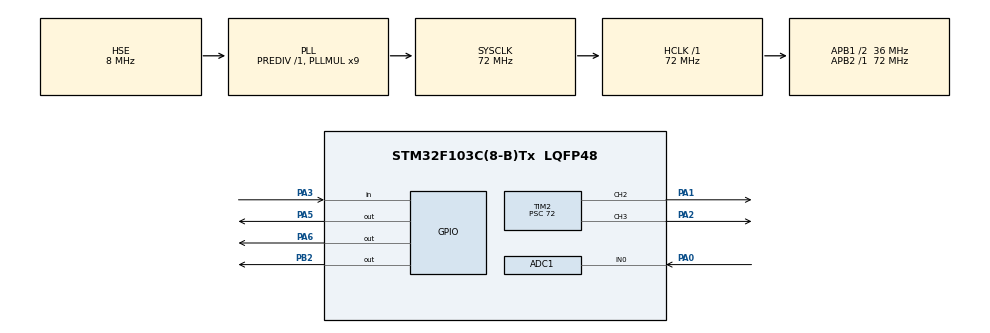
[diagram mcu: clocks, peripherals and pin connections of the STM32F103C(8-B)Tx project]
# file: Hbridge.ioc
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ADC1.Channel-0\#ChannelRegularConversion=ADC_CHANNEL_0
ADC1.NbrOfConversionFlag=1
ADC1.Rank-0\#ChannelRegularConversion=1
ADC1.SamplingTime-0\#ChannelRegularConversion=ADC_SAMPLETIME_1CYCLE_5
ADC1.master=1
Mcu.Family=STM32F1
Mcu.Name=STM32F103C(8-B)Tx
Mcu.Package=LQFP48
NVIC.PriorityGroup=NVIC_PRIORITYGROUP_4
PA0-WKUP.Signal=ADCx_IN0
PA1.Signal=S_TIM2_CH2
PA13.Mode=Serial_Wire
PA13.Signal=SYS_JTMS-SWDIO
PA14.Mode=Serial_Wire
PA14.Signal=SYS_JTCK-SWCLK
PA2.Signal=S_TIM2_CH3
PA3.Signal=GPIO_Input
PA5.PinState=GPIO_PIN_SET
PA5.Signal=GPIO_Output
PA6.PinState=GPIO_PIN_SET
PA6.Signal=GPIO_Output
PB2.Signal=GPIO_Output
PD0-OSC_IN.Mode=HSE-External-Oscillator
PD0-OSC_IN.Signal=RCC_OSC_IN
PD1-OSC_OUT.Mode=HSE-External-Oscillator
PD1-OSC_OUT.Signal=RCC_OSC_OUT
ProjectManager.HeapSize=0x200
ProjectManager.StackSize=0x400
ProjectManager.TargetToolchain=STM32CubeIDE
RCC.ADCPresc=RCC_ADCPCLK2_DIV6
RCC.AHBFreq_Value=72000000
RCC.APB1CLKDivider=RCC_HCLK_DIV2
RCC.APB1Freq_Value=36000000
RCC.APB1TimFreq_Value=72000000
RCC.APB2Freq_Value=72000000
RCC.APB2TimFreq_Value=72000000
RCC.HCLKFreq_Value=72000000
RCC.PLLMUL=RCC_PLL_MUL9
RCC.PLLSourceVirtual=RCC_PLLSOURCE_HSE
RCC.SYSCLKFreq_VALUE=72000000
RCC.SYSCLKSource=RCC_SYSCLKSOURCE_PLLCLK
RCC.USBFreq_Value=72000000
SH.ADCx_IN0.0=ADC1_IN0,IN0
SH.S_TIM2_CH2.0=TIM2_CH2,PWM Generation2 CH2
SH.S_TIM2_CH3.0=TIM2_CH3,PWM Generation3 CH3
TIM2.Channel-PWM\ Generation2\ CH2=TIM_CHANNEL_2
TIM2.Channel-PWM\ Generation3\ CH3=TIM_CHANNEL_3
TIM2.Period=1000
TIM2.Prescaler=72
board=custom

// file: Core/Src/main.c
/* USER CODE BEGIN Header */
/**
  ******************************************************************************
  * @file           : main.c
  * @brief          : Main program body
  ******************************************************************************
  * @attention
  *
  * Copyright (c) 2026 STMicroelectronics.
  * All rights reserved.
  *
  * This software is licensed under terms that can be found in the LICENSE file
  * in the root directory of this software component.
  * If no LICENSE file comes with this software, it is provided AS-IS.
  *
  ******************************************************************************
  */
/* USER CODE END Header */
#include "main.h"

/* USER CODE BEGIN PD */
#define M_PORT GPIOA
#define MH1_PIN GPIO_PIN_1
#define MH2_PIN GPIO_PIN_2
#define ML1_PIN GPIO_PIN_5
#define ML2_PIN GPIO_PIN_6
#define MH1_channel TIM_CHANNEL_2
#define MH2_channel TIM_CHANNEL_3
#define DR_PIN GPIO_PIN_3
#define DR_PORT GPIOA

/* USER CODE END PD */

ADC_HandleTypeDef hadc1;

TIM_HandleTypeDef htim2;

/* USER CODE BEGIN PV */
uint8_t currentDirection; //1 forward, 0 reverse.
uint16_t adc_val;
uint16_t CCR_val;

/* USER CODE END PV */

void SystemClock_Config(void);
static void MX_GPIO_Init(void);
static void MX_ADC1_Init(void);
static void MX_TIM2_Init(void);

/* USER CODE BEGIN 0 */
  void stopMotor(void){
   __HAL_TIM_SetCompare(&htim2,MH1_channel,0);
   __HAL_TIM_SetCompare(&htim2,MH2_channel,0);
   HAL_GPIO_WritePin(M_PORT,ML1_PIN,GPIO_PIN_SET);
   HAL_GPIO_WritePin(M_PORT,ML2_PIN,GPIO_PIN_SET);
   }
   void updateDirection(void){
    uint8_t curr_reading = HAL_GPIO_ReadPin(DR_PORT,DR_PIN);
    if(curr_reading!= currentDirection){
      HAL_Delay(100);
      if(HAL_GPIO_ReadPin(DR_PORT,DR_PIN)==curr_reading){
        currentDirection=curr_reading;
        stopMotor();
        HAL_Delay(500);
      }
    }
   }
   void updateSpeed(void){
	  HAL_ADC_Start(&hadc1);
      HAL_ADC_PollForConversion(&hadc1,10);
      adc_val = HAL_ADC_GetValue(&hadc1);
      CCR_val = (adc_val*1000)>>12;
      if(currentDirection==1){
      __HAL_TIM_SetCompare(&htim2,MH2_channel,0);
      HAL_GPIO_WritePin(M_PORT,ML1_PIN,GPIO_PIN_SET);
      __HAL_TIM_SetCompare(&htim2,MH1_channel,CCR_val);
      HAL_GPIO_WritePin(M_PORT,ML2_PIN,GPIO_PIN_RESET);
      }
      else{
      __HAL_TIM_SetCompare(&htim2,MH1_channel,0);
      HAL_GPIO_WritePin(M_PORT,ML2_PIN,GPIO_PIN_SET);
      __HAL_TIM_SetCompare(&htim2,MH2_channel,CCR_val);
      HAL_GPIO_WritePin(M_PORT,ML1_PIN,GPIO_PIN_RESET);
      }
   }

/* USER CODE END 0 */

int main(void)
{

  /* MCU Configuration--------------------------------------------------------*/

  /* Reset of all peripherals, Initializes the Flash interface and the Systick. */
  HAL_Init();

  /* Configure the system clock */
  SystemClock_Config();

  /* Initialize all configured peripherals */
  MX_GPIO_Init();
  MX_ADC1_Init();
  MX_TIM2_Init();
  /* USER CODE BEGIN 2 */
   HAL_TIM_PWM_Start(&htim2, MH1_channel);
   HAL_TIM_PWM_Start(&htim2, MH2_channel);
   stopMotor();
   currentDirection=HAL_GPIO_ReadPin(DR_PORT,DR_PIN);

  /* USER CODE END 2 */

  /* Infinite loop */
  /* USER CODE BEGIN WHILE */
  while (1)
  {
    updateSpeed();
    updateDirection();
    HAL_Delay(10);
    /* USER CODE END WHILE */

  }
}

void SystemClock_Config(void)
{
  RCC_OscInitTypeDef RCC_OscInitStruct = {0};
  RCC_ClkInitTypeDef RCC_ClkInitStruct = {0};
  RCC_PeriphCLKInitTypeDef PeriphClkInit = {0};

  /** Initializes the RCC Oscillators according to the specified parameters
  * in the RCC_OscInitTypeDef structure.
  */
  RCC_OscInitStruct.OscillatorType = RCC_OSCILLATORTYPE_HSE;
  RCC_OscInitStruct.HSEState = RCC_HSE_ON;
  RCC_OscInitStruct.HSEPredivValue = RCC_HSE_PREDIV_DIV1;
  RCC_OscInitStruct.HSIState = RCC_HSI_ON;
  RCC_OscInitStruct.PLL.PLLState = RCC_PLL_ON;
  RCC_OscInitStruct.PLL.PLLSource = RCC_PLLSOURCE_HSE;
  RCC_OscInitStruct.PLL.PLLMUL = RCC_PLL_MUL9;
  if (HAL_RCC_OscConfig(&RCC_OscInitStruct) != HAL_OK)
  {
    Error_Handler();
  }

  /** Initializes the CPU, AHB and APB buses clocks
  */
  RCC_ClkInitStruct.ClockType = RCC_CLOCKTYPE_HCLK|RCC_CLOCKTYPE_SYSCLK
                              |RCC_CLOCKTYPE_PCLK1|RCC_CLOCKTYPE_PCLK2;
  RCC_ClkInitStruct.SYSCLKSource = RCC_SYSCLKSOURCE_PLLCLK;
  RCC_ClkInitStruct.AHBCLKDivider = RCC_SYSCLK_DIV1;
  RCC_ClkInitStruct.APB1CLKDivider = RCC_HCLK_DIV2;
  RCC_ClkInitStruct.APB2CLKDivider = RCC_HCLK_DIV1;

  if (HAL_RCC_ClockConfig(&RCC_ClkInitStruct, FLASH_LATENCY_2) != HAL_OK)
  {
    Error_Handler();
  }
  PeriphClkInit.PeriphClockSelection = RCC_PERIPHCLK_ADC;
  PeriphClkInit.AdcClockSelection = RCC_ADCPCLK2_DIV6;
  if (HAL_RCCEx_PeriphCLKConfig(&PeriphClkInit) != HAL_OK)
  {
    Error_Handler();
  }
}

static void MX_ADC1_Init(void)
{

  ADC_ChannelConfTypeDef sConfig = {0};

  /** Common config
  */
  hadc1.Instance = ADC1;
  hadc1.Init.ScanConvMode = ADC_SCAN_DISABLE;
  hadc1.Init.ContinuousConvMode = DISABLE;
  hadc1.Init.DiscontinuousConvMode = DISABLE;
  hadc1.Init.ExternalTrigConv = ADC_SOFTWARE_START;
  hadc1.Init.DataAlign = ADC_DATAALIGN_RIGHT;
  hadc1.Init.NbrOfConversion = 1;
  if (HAL_ADC_Init(&hadc1) != HAL_OK)
  {
    Error_Handler();
  }

  /** Configure Regular Channel
  */
  sConfig.Channel = ADC_CHANNEL_0;
  sConfig.Rank = ADC_REGULAR_RANK_1;
  sConfig.SamplingTime = ADC_SAMPLETIME_1CYCLE_5;
  if (HAL_ADC_ConfigChannel(&hadc1, &sConfig) != HAL_OK)
  {
    Error_Handler();
  }

}

static void MX_TIM2_Init(void)
{

  TIM_MasterConfigTypeDef sMasterConfig = {0};
  TIM_OC_InitTypeDef sConfigOC = {0};

  htim2.Instance = TIM2;
  htim2.Init.Prescaler = 72;
  htim2.Init.CounterMode = TIM_COUNTERMODE_UP;
  htim2.Init.Period = 1000;
  htim2.Init.ClockDivision = TIM_CLOCKDIVISION_DIV1;
  htim2.Init.AutoReloadPreload = TIM_AUTORELOAD_PRELOAD_DISABLE;
  if (HAL_TIM_PWM_Init(&htim2) != HAL_OK)
  {
    Error_Handler();
  }
  sMasterConfig.MasterOutputTrigger = TIM_TRGO_RESET;
  sMasterConfig.MasterSlaveMode = TIM_MASTERSLAVEMODE_DISABLE;
  if (HAL_TIMEx_MasterConfigSynchronization(&htim2, &sMasterConfig) != HAL_OK)
  {
    Error_Handler();
  }
  sConfigOC.OCMode = TIM_OCMODE_PWM1;
  sConfigOC.Pulse = 0;
  sConfigOC.OCPolarity = TIM_OCPOLARITY_HIGH;
  sConfigOC.OCFastMode = TIM_OCFAST_DISABLE;
  if (HAL_TIM_PWM_ConfigChannel(&htim2, &sConfigOC, TIM_CHANNEL_2) != HAL_OK)
  {
    Error_Handler();
  }
  if (HAL_TIM_PWM_ConfigChannel(&htim2, &sConfigOC, TIM_CHANNEL_3) != HAL_OK)
  {
    Error_Handler();
  }
  HAL_TIM_MspPostInit(&htim2);

}

static void MX_GPIO_Init(void)
{
  GPIO_InitTypeDef GPIO_InitStruct = {0};

  /* GPIO Ports Clock Enable */
  __HAL_RCC_GPIOD_CLK_ENABLE();
  __HAL_RCC_GPIOA_CLK_ENABLE();
  __HAL_RCC_GPIOB_CLK_ENABLE();

  /*Configure GPIO pin Output Level */
  HAL_GPIO_WritePin(GPIOA, GPIO_PIN_5|GPIO_PIN_6, GPIO_PIN_SET);

  /*Configure GPIO pin Output Level */
  HAL_GPIO_WritePin(GPIOB, GPIO_PIN_2, GPIO_PIN_RESET);

  /*Configure GPIO pin : PA3 */
  GPIO_InitStruct.Pin = GPIO_PIN_3;
  GPIO_InitStruct.Mode = GPIO_MODE_INPUT;
  GPIO_InitStruct.Pull = GPIO_NOPULL;
  HAL_GPIO_Init(GPIOA, &GPIO_InitStruct);

  /*Configure GPIO pins : PA5 PA6 */
  GPIO_InitStruct.Pin = GPIO_PIN_5|GPIO_PIN_6;
  GPIO_InitStruct.Mode = GPIO_MODE_OUTPUT_PP;
  GPIO_InitStruct.Pull = GPIO_NOPULL;
  GPIO_InitStruct.Speed = GPIO_SPEED_FREQ_LOW;
  HAL_GPIO_Init(GPIOA, &GPIO_InitStruct);

  /*Configure GPIO pin : PB2 */
  GPIO_InitStruct.Pin = GPIO_PIN_2;
  GPIO_InitStruct.Mode = GPIO_MODE_OUTPUT_PP;
  GPIO_InitStruct.Pull = GPIO_NOPULL;
  GPIO_InitStruct.Speed = GPIO_SPEED_FREQ_LOW;
  HAL_GPIO_Init(GPIOB, &GPIO_InitStruct);

}

void Error_Handler(void)
{
  __disable_irq();
  while (1)
  {
  }
}
